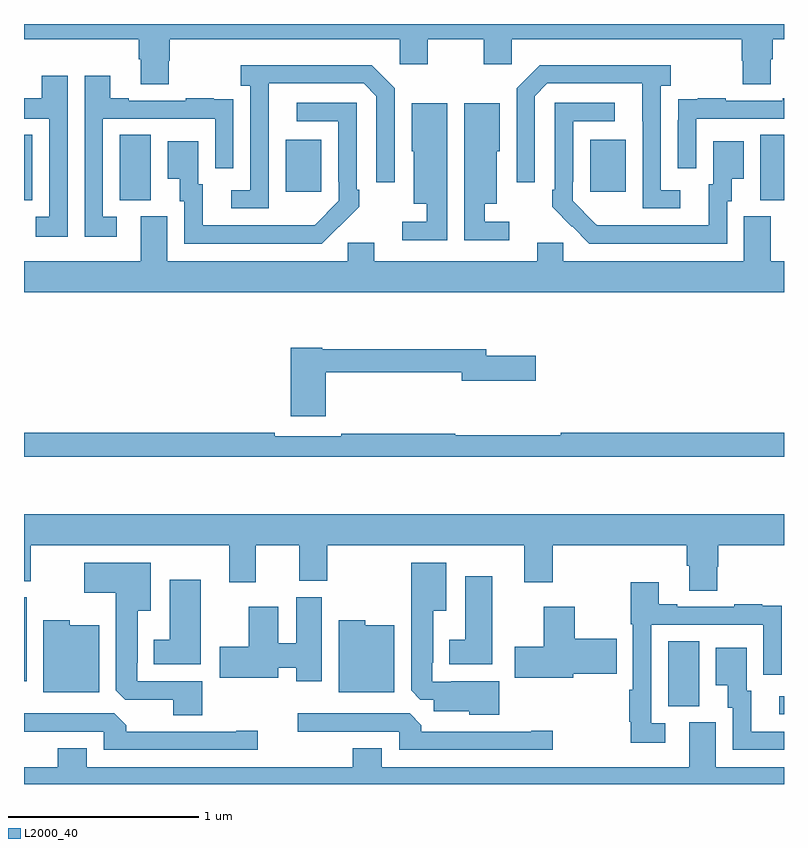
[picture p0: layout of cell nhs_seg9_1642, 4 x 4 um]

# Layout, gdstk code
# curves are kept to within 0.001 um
import gdstk
lib = gdstk.Library(unit=1e-6, precision=1e-09)
def R(c, l, rs):  # rectangles x0, y0, x1, y1
    for r in rs: c.add(gdstk.rectangle(r[:2], r[2:], *l))
def P(c, l, *ps):  # polygons
    for p in ps: c.add(gdstk.Polygon(p, *l))
L2000_40 = (2000, 40)

nhs_seg9_1642 = lib.new_cell('nhs_seg9_1642')
R(nhs_seg9_1642, L2000_40, [(206.976,1192.866,207,1192.962), (206.39,1192.909,206.554,1193.252), (203,1193.04,203.014,1193.482), (203,1195.573,203.044,1195.916), (203.504,1195.573,203.668,1195.916), (206.876,1195.573,207,1195.916), (204.377,1195.617,204.565,1195.891), (205.979,1195.617,206.167,1195.891)])
P(nhs_seg9_1642, L2000_40, [(203.763,1196.307),(203.768,1196.307),(203.768,1196.42),(204.978,1196.42),(204.978,1196.289),(205.125,1196.289),(205.125,1196.42),(205.42,1196.42),(205.42,1196.289),(205.566,1196.289),(205.566,1196.42),(206.777,1196.42),(206.777,1196.307),(206.782,1196.307),(206.782,1196.182),(206.929,1196.182),(206.929,1196.314),(206.942,1196.314),(206.942,1196.42),(207,1196.42),(207,1196.5),(203,1196.5),(203,1196.42),(203.603,1196.42),(203.603,1196.314),(203.615,1196.314),(203.615,1196.182),(203.763,1196.182)],
  [(204.288,1195.987),(204.289,1196.187),(204.789,1196.187),(204.855,1196.121),(204.855,1195.668),(204.951,1195.668),(204.951,1196.163),(204.83,1196.284),(204.141,1196.284),(204.141,1196.174),(204.192,1196.174),(204.192,1195.626),(204.09,1195.626),(204.09,1195.53),(204.288,1195.53)],
  [(206.455,1195.626),(206.352,1195.626),(206.352,1196.174),(206.404,1196.174),(206.404,1196.284),(205.714,1196.284),(205.593,1196.163),(205.593,1195.668),(205.689,1195.668),(205.689,1196.121),(205.755,1196.187),(206.255,1196.187),(206.256,1195.53),(206.455,1195.53)],
  [(203.488,1195.485),(203.415,1195.485),(203.415,1196.001),(204.006,1196.001),(204.006,1195.74),(204.102,1195.74),(204.102,1195.994),(204.101,1195.994),(204.101,1196.103),(203.999,1196.103),(203.999,1196.11),(203.851,1196.11),(203.851,1196.097),(203.551,1196.097),(203.551,1196.11),(203.455,1196.11),(203.455,1196.227),(203.319,1196.227),(203.319,1195.38),(203.488,1195.38)],
  [(203.229,1196.227),(203.093,1196.227),(203.093,1196.11),(203,1196.11),(203,1196.001),(203.133,1196.001),(203.133,1195.485),(203.061,1195.485),(203.061,1195.38),(203.229,1195.38)],
  [(206.538,1196.001),(207,1196.001),(207,1196.11),(206.993,1196.11),(206.993,1196.097),(206.693,1196.097),(206.693,1196.11),(206.545,1196.11),(206.545,1196.103),(206.443,1196.103),(206.443,1195.994),(206.442,1195.994),(206.442,1195.74),(206.538,1195.74)],
  [(204.659,1195.435),(204.66,1195.434),(204.765,1195.539),(204.765,1195.627),(204.75,1195.627),(204.75,1196.085),(204.435,1196.085),(204.435,1195.989),(204.654,1195.989),(204.654,1195.669),(204.657,1195.669),(204.657,1195.569),(204.529,1195.441),(203.941,1195.44),(203.941,1195.656),(203.917,1195.656),(203.917,1195.882),(203.756,1195.882),(203.756,1195.685),(203.819,1195.685),(203.819,1195.566),(203.844,1195.566),(203.844,1195.344),(204.568,1195.344)],
  [(206.7,1195.566),(206.725,1195.566),(206.725,1195.685),(206.788,1195.685),(206.788,1195.882),(206.627,1195.882),(206.627,1195.656),(206.603,1195.656),(206.603,1195.44),(206.016,1195.441),(205.887,1195.569),(205.887,1195.669),(205.89,1195.669),(205.89,1195.989),(206.11,1195.989),(206.11,1196.085),(205.794,1196.085),(205.794,1195.627),(205.779,1195.627),(205.779,1195.539),(205.976,1195.344),(206.7,1195.344)],
  [(205.227,1195.657),(205.228,1195.657),(205.228,1196.083),(205.04,1196.083),(205.04,1195.83),(205.052,1195.83),(205.052,1195.553),(205.119,1195.553),(205.119,1195.458),(204.99,1195.458),(204.99,1195.362),(205.227,1195.362)],
  [(205.555,1195.458),(205.426,1195.458),(205.426,1195.553),(205.489,1195.553),(205.489,1195.83),(205.504,1195.83),(205.504,1196.083),(205.316,1196.083),(205.316,1195.657),(205.317,1195.657),(205.317,1195.362),(205.555,1195.362)],
  [(207,1195.252),(206.929,1195.252),(206.929,1195.488),(206.789,1195.488),(206.789,1195.252),(205.839,1195.252),(205.839,1195.35),(205.7,1195.35),(205.7,1195.252),(204.844,1195.252),(204.844,1195.35),(204.705,1195.35),(204.705,1195.252),(203.755,1195.252),(203.755,1195.488),(203.615,1195.488),(203.615,1195.252),(203,1195.252),(203,1195.088),(207,1195.088)],
  [(204.587,1194.666),(205.304,1194.666),(205.304,1194.623),(205.693,1194.623),(205.693,1194.753),(205.432,1194.753),(205.432,1194.787),(204.57,1194.787),(204.57,1194.795),(204.404,1194.795),(204.404,1194.435),(204.587,1194.435)],
  [(207,1194.35),(205.826,1194.35),(205.826,1194.335),(205.27,1194.335),(205.27,1194.343),(204.67,1194.343),(204.67,1194.33),(204.32,1194.33),(204.32,1194.35),(203,1194.35),(203,1194.222),(207,1194.222)],
  [(206.649,1193.643),(206.654,1193.643),(206.654,1193.756),(207,1193.756),(207,1193.92),(203,1193.92),(203,1193.567),(203.035,1193.567),(203.035,1193.756),(204.08,1193.756),(204.08,1193.562),(204.22,1193.562),(204.22,1193.756),(204.449,1193.756),(204.449,1193.569),(204.597,1193.569),(204.597,1193.756),(205.634,1193.756),(205.634,1193.562),(205.782,1193.562),(205.782,1193.756),(206.489,1193.756),(206.489,1193.65),(206.501,1193.65),(206.501,1193.518),(206.649,1193.518)],
  [(203.939,1193.04),(203.595,1193.04),(203.595,1193.137),(203.599,1193.137),(203.599,1193.411),(203.668,1193.411),(203.668,1193.665),(203.316,1193.665),(203.316,1193.507),(203.483,1193.507),(203.483,1192.993),(203.532,1192.944),(203.786,1192.944),(203.786,1192.861),(203.939,1192.861)],
  [(205.501,1193.041),(205.249,1193.041),(205.249,1193.037),(205.149,1193.037),(205.149,1193.137),(205.153,1193.137),(205.153,1193.411),(205.222,1193.411),(205.222,1193.665),(205.037,1193.665),(205.037,1192.993),(205.086,1192.944),(205.157,1192.944),(205.157,1192.883),(205.344,1192.883),(205.344,1192.865),(205.501,1192.865)],
  [(205.465,1193.593),(205.322,1193.593),(205.322,1193.26),(205.238,1193.26),(205.238,1193.129),(205.465,1193.129)],
  [(203.929,1193.575),(203.768,1193.575),(203.768,1193.26),(203.684,1193.26),(203.684,1193.129),(203.929,1193.129)],
  [(206.374,1192.821),(206.301,1192.821),(206.301,1193.337),(206.892,1193.337),(206.892,1193.076),(206.988,1193.076),(206.988,1193.33),(206.987,1193.33),(206.987,1193.439),(206.885,1193.439),(206.885,1193.446),(206.737,1193.446),(206.737,1193.433),(206.437,1193.433),(206.437,1193.446),(206.341,1193.446),(206.341,1193.563),(206.193,1193.563),(206.193,1193.34),(206.205,1193.34),(206.205,1192.997),(206.185,1192.997),(206.185,1192.828),(206.193,1192.828),(206.193,1192.716),(206.374,1192.716)],
  [(204.568,1193.484),(204.434,1193.484),(204.434,1193.241),(204.337,1193.241),(204.337,1193.434),(204.182,1193.434),(204.182,1193.223),(204.03,1193.223),(204.03,1193.06),(204.337,1193.06),(204.337,1193.111),(204.434,1193.111),(204.434,1193.04),(204.568,1193.04)],
  [(205.891,1193.081),(206.119,1193.081),(206.119,1193.264),(205.899,1193.264),(205.899,1193.434),(205.736,1193.434),(205.736,1193.223),(205.584,1193.223),(205.584,1193.06),(205.891,1193.06)],
  [(203.395,1193.335),(203.241,1193.335),(203.241,1193.362),(203.102,1193.362),(203.102,1192.982),(203.395,1192.982)],
  [(204.949,1193.335),(204.795,1193.335),(204.795,1193.362),(204.656,1193.362),(204.656,1192.982),(204.949,1192.982)],
  [(207,1192.776),(206.827,1192.776),(206.827,1192.992),(206.803,1192.992),(206.803,1193.218),(206.642,1193.218),(206.642,1193.021),(206.705,1193.021),(206.705,1192.902),(206.73,1192.902),(206.73,1192.68),(207,1192.68)],
  [(205.783,1192.781),(205.67,1192.781),(205.67,1192.776),(205.091,1192.776),(205.091,1192.81),(205.029,1192.872),(204.441,1192.872),(204.441,1192.776),(204.975,1192.776),(204.975,1192.68),(205.783,1192.68)],
  [(204.229,1192.781),(204.116,1192.781),(204.116,1192.776),(203.537,1192.776),(203.537,1192.81),(203.475,1192.872),(203,1192.872),(203,1192.776),(203.421,1192.776),(203.421,1192.68),(204.229,1192.68)],
  [(207,1192.588),(206.641,1192.588),(206.641,1192.824),(206.501,1192.824),(206.501,1192.588),(204.883,1192.588),(204.883,1192.687),(204.731,1192.687),(204.731,1192.588),(203.329,1192.588),(203.329,1192.687),(203.177,1192.687),(203.177,1192.588),(203,1192.588),(203,1192.5),(207,1192.5)])

lib.write_gds('nhs_seg9_1642.gds')
